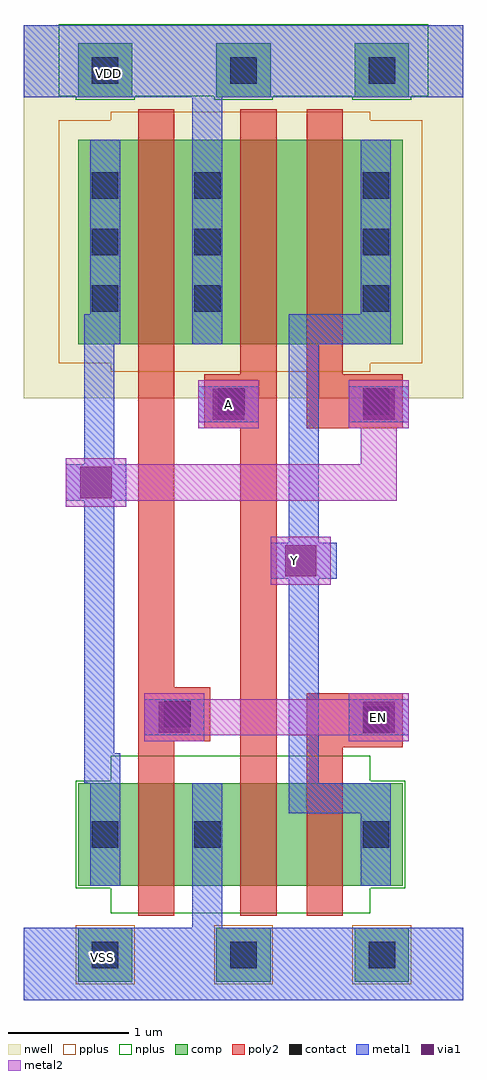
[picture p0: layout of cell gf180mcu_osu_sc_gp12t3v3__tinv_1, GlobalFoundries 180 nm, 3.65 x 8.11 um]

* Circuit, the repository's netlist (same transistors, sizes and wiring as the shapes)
* Copyright 2022 Google LLC
*
* Licensed under the Apache License, Version 2.0 (the "License");
* you may not use this file except in compliance with the License.
* You may obtain a copy of the License at
*
*      http://www.apache.org/licenses/LICENSE-2.0
*
* Unless required by applicable law or agreed to in writing, software
* distributed under the License is distributed on an "AS IS" BASIS,
* WITHOUT WARRANTIES OR CONDITIONS OF ANY KIND, either express or implied.
* See the License for the specific language governing permissions and
* limitations under the License.

.inc "/import/yukari1/lrburle/OSU_180/char/techfiles/design.hspice"
.lib "/import/yukari1/lrburle/OSU_180/char/techfiles/sm141064.hspice" typical

.GLOBAL VDD
.GLOBAL VSS

.option scale=0.05u

.subckt gf180mcu_osu_sc_gp12t3v3__tinv_1 A Y EN
X0 Y EN a_42_19 VSS nmos_3p3 w=17 l=6
X1 Y a_9_19 a_42_109 VDD pmos_3p3 w=34 l=6
X2 a_42_109 A VDD VDD pmos_3p3 w=34 l=6
X3 VDD EN a_9_19 VDD pmos_3p3 w=34 l=6
X4 VSS EN a_9_19 VSS nmos_3p3 w=17 l=6
X5 a_42_19 A VSS VSS nmos_3p3 w=17 l=6
.ends

** hspice subcircuit dictionary

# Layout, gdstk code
import gdstk
lib = gdstk.Library(unit=1e-6, precision=1e-09)
def R(c, l, rs):  # rectangles x0, y0, x1, y1
    for r in rs: c.add(gdstk.rectangle(r[:2], r[2:], *l))
def A(c, l, x, y, w, h, nx, ny, dx, dy):  # array of equal rectangles
    R(c, l, [(x+i*dx, y+j*dy, x+i*dx+w, y+j*dy+h) for i in range(nx) for j in range(ny)])
nwell = (21, 0)
comp = (22, 0)
poly2 = (30, 0)
pplus = (31, 0)
nplus = (32, 0)
contact = (33, 0)
metal1 = (34, 0)
via1 = (35, 0)
metal2 = (36, 0)

gf180mcu_osu_sc_gp12t3v3 = lib.new_cell('gf180mcu_osu_sc_gp12t3v3__tinv_1')
R(gf180mcu_osu_sc_gp12t3v3, nwell, [(0,5,3.65,8.1)])
A(gf180mcu_osu_sc_gp12t3v3, comp, 0.45, 0.15, 0.45, 0.45, 3, 2, 1.15, 7.35)
R(gf180mcu_osu_sc_gp12t3v3, comp, [(0.45,0.95,3.15,1.8), (0.45,5.45,3.15,7.15)])
R(gf180mcu_osu_sc_gp12t3v3, poly2, [(0.95,0.7,1.25,2.15), (1.8,0.7,2.1,4.75), (2.35,0.7,2.65,2.1), (2.35,2.1,3.15,2.55), (0.95,2.15,1.55,2.6), (0.95,2.6,1.25,7.4), (1.5,4.75,2.1,5.2), (2.35,4.75,3.15,5.2), (1.8,5.2,2.1,7.4), (2.35,5.2,2.65,7.4)])
A(gf180mcu_osu_sc_gp12t3v3, pplus, 0.43, 0.13, 0.49, 0.49, 3, 1, 1.15, 0)
R(gf180mcu_osu_sc_gp12t3v3, pplus, [(0.72,5.22,2.88,5.29), (0.29,5.29,3.31,7.31), (0.72,7.31,2.88,7.38)])
A(gf180mcu_osu_sc_gp12t3v3, nplus, 0.43, 7.48, 0.49, 0.03, 3, 1, 1.15, 0)
R(gf180mcu_osu_sc_gp12t3v3, nplus, [(0.72,0.72,2.88,0.93), (0.43,0.93,3.17,1.82), (0.72,1.82,2.88,2.03), (0.29,7.51,3.36,8.11)])
A(gf180mcu_osu_sc_gp12t3v3, contact, 0.565, 0.265, 0.22, 0.22, 3, 2, 1.15, 7.35)
A(gf180mcu_osu_sc_gp12t3v3, contact, 0.565, 5.72, 0.22, 0.22, 1, 3, 0, 0.47)
A(gf180mcu_osu_sc_gp12t3v3, contact, 1.415, 5.72, 0.22, 0.22, 1, 3, 0, 0.47)
A(gf180mcu_osu_sc_gp12t3v3, contact, 2.815, 5.72, 0.22, 0.22, 1, 3, 0, 0.47)
R(gf180mcu_osu_sc_gp12t3v3, contact, [(0.565,1.265,0.785,1.485), (1.415,1.265,1.635,1.485), (2.815,1.265,3.035,1.485), (2.815,2.215,3.035,2.435), (1.165,2.265,1.385,2.485), (1.615,4.865,1.835,5.085), (2.815,4.865,3.035,5.085)])
R(gf180mcu_osu_sc_gp12t3v3, metal1, [(0,0,3.65,0.6), (1.4,0.6,1.65,1.8), (0.55,0.95,0.8,1.8), (2.8,0.95,3.05,1.55), (2.2,1.55,3.05,1.8), (0.5,1.8,0.8,2.05), (2.2,1.8,2.45,3.5), (0.5,2.05,0.75,4.15), (1,2.2,1.5,2.5), (2.7,2.2,3.2,2.5), (2.05,3.5,2.6,3.8), (2.2,3.8,2.45,5.45), (0.35,4.15,0.85,4.45), (0.5,4.45,0.75,5.45), (1.45,4.8,1.95,5.1), (2.7,4.8,3.2,5.1), (0.5,5.45,0.8,5.7), (1.4,5.45,1.65,7.5), (2.2,5.45,3.05,5.7), (0.55,5.7,0.8,7.15), (2.8,5.7,3.05,7.15), (0,7.5,3.65,8.1)])
R(gf180mcu_osu_sc_gp12t3v3, via1, [(1.12,2.22,1.38,2.48), (2.82,2.22,3.08,2.48), (2.17,3.52,2.43,3.78), (0.47,4.17,0.73,4.43), (1.57,4.82,1.83,5.08), (2.82,4.82,3.08,5.08)])
R(gf180mcu_osu_sc_gp12t3v3, metal2, [(1,2.15,1.5,2.2), (2.7,2.15,3.2,2.2), (1,2.2,3.2,2.5), (1,2.5,1.5,2.55), (2.7,2.5,3.2,2.55), (2.05,3.45,2.55,3.85), (0.35,4.1,0.85,4.15), (0.35,4.15,3.1,4.45), (0.35,4.45,0.85,4.5), (2.8,4.45,3.1,4.75), (1.45,4.75,1.95,5.15), (2.7,4.75,3.2,5.15)])
gf180mcu_osu_sc_gp12t3v3.add(gdstk.Label('VDD', (0.7,7.7), layer=34, texttype=0))
gf180mcu_osu_sc_gp12t3v3.add(gdstk.Label('VSS', (0.65,0.35), layer=34, texttype=0))
gf180mcu_osu_sc_gp12t3v3.add(gdstk.Label('A', (1.7,4.95), layer=36, texttype=10))
gf180mcu_osu_sc_gp12t3v3.add(gdstk.Label('Y', (2.25,3.65), layer=36, texttype=10))
gf180mcu_osu_sc_gp12t3v3.add(gdstk.Label('EN', (2.95,2.35), layer=36, texttype=10))

lib.write_gds('gf180mcu_osu_sc_gp12t3v3__tinv_1.gds')
